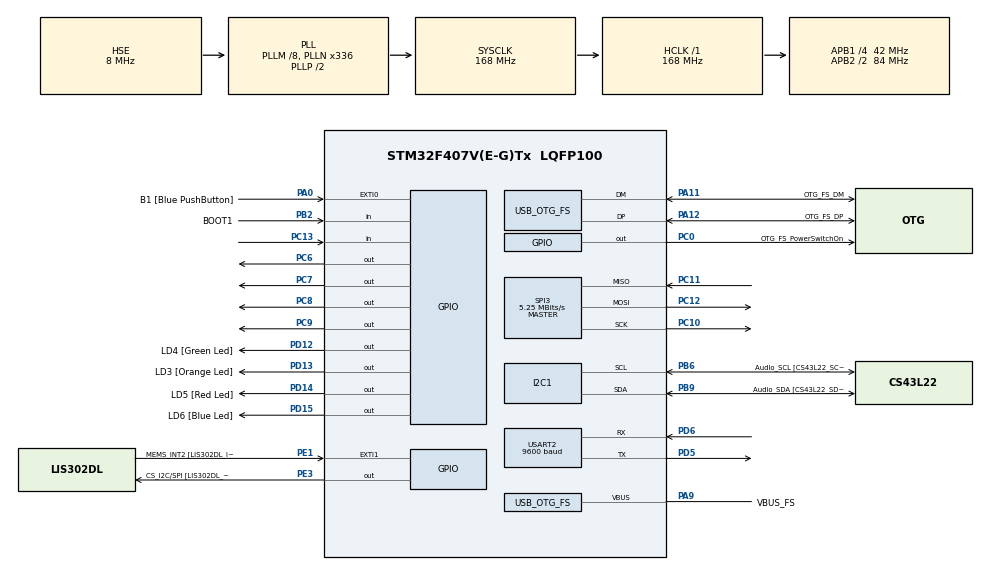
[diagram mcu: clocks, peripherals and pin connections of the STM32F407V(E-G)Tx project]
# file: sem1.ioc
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Mcu.Family=STM32F4
Mcu.Name=STM32F407V(E-G)Tx
Mcu.Package=LQFP100
NVIC.OTG_FS_IRQn=true\:0\:0\:false\:false\:true\:true\:true\:true
NVIC.PriorityGroup=NVIC_PRIORITYGROUP_0
PA0-WKUP.GPIO_Label=B1 [Blue PushButton]
PA0-WKUP.GPIO_ModeDefaultEXTI=GPIO_MODE_EVT_RISING
PA0-WKUP.GPIO_PuPd=GPIO_NOPULL
PA0-WKUP.Signal=GPXTI0
PA10.GPIO_Label=OTG_FS_ID
PA10.GPIO_Mode=GPIO_MODE_AF_PP
PA10.GPIO_PuPd=GPIO_NOPULL
PA10.GPIO_Speed=GPIO_SPEED_FREQ_LOW
PA10.Signal=USB_OTG_FS_ID
PA11.GPIO_Label=OTG_FS_DM
PA11.GPIO_Mode=GPIO_MODE_AF_PP
PA11.GPIO_PuPd=GPIO_NOPULL
PA11.GPIO_Speed=GPIO_SPEED_FREQ_LOW
PA11.Mode=Host_Only
PA11.Signal=USB_OTG_FS_DM
PA12.GPIO_Label=OTG_FS_DP
PA12.GPIO_Mode=GPIO_MODE_AF_PP
PA12.GPIO_PuPd=GPIO_NOPULL
PA12.GPIO_Speed=GPIO_SPEED_FREQ_LOW
PA12.Mode=Host_Only
PA12.Signal=USB_OTG_FS_DP
PA13.GPIO_Label=SWDIO
PA13.Mode=Serial_Wire
PA13.Signal=SYS_JTMS-SWDIO
PA14.GPIO_Label=SWCLK
PA14.Mode=Serial_Wire
PA14.Signal=SYS_JTCK-SWCLK
PA4.GPIO_Label=I2S3_WS [CS43L22_LRCK]
PA4.GPIO_Mode=GPIO_MODE_AF_PP
PA4.GPIO_PuPd=GPIO_NOPULL
PA4.GPIO_Speed=GPIO_SPEED_FREQ_LOW
PA4.Signal=I2S3_WS
PA5.GPIO_Label=SPI1_SCK [LIS302DL_SCL/SPC]
PA5.GPIO_Mode=GPIO_MODE_AF_PP
PA5.GPIO_PuPd=GPIO_NOPULL
PA5.GPIO_Speed=GPIO_SPEED_FREQ_LOW
PA5.Signal=SPI1_SCK
PA6.GPIO_Label=SPI1_MISO [LIS302DL_SDO]
PA6.GPIO_Mode=GPIO_MODE_AF_PP
PA6.GPIO_PuPd=GPIO_NOPULL
PA6.GPIO_Speed=GPIO_SPEED_FREQ_LOW
PA6.Signal=SPI1_MISO
PA7.GPIO_Label=SPI1_MOSI [LIS302DL_SDA/SDI/SDO]
PA7.GPIO_Mode=GPIO_MODE_AF_PP
PA7.GPIO_PuPd=GPIO_NOPULL
PA7.GPIO_Speed=GPIO_SPEED_FREQ_LOW
PA7.Signal=SPI1_MOSI
PA9.GPIO_Label=VBUS_FS
PA9.GPIO_Mode=GPIO_MODE_INPUT
PA9.GPIO_PuPd=GPIO_NOPULL
PA9.Mode=Activate_VBUS
PA9.Signal=USB_OTG_FS_VBUS
PB10.GPIO_Label=CLK_IN [MP45DT02_CLK]
PB10.GPIO_Mode=GPIO_MODE_AF_PP
PB10.GPIO_PuPd=GPIO_NOPULL
PB10.GPIO_Speed=GPIO_SPEED_FREQ_LOW
PB10.Signal=I2S2_CK
PB2.GPIO_Label=BOOT1
PB2.GPIO_Mode=GPIO_MODE_INPUT
PB2.GPIO_PuPd=GPIO_NOPULL
PB2.Signal=GPIO_Input
PB3.GPIO_Label=SWO
PB3.Signal=SYS_JTDO-SWO
PB6.GPIO_Label=Audio_SCL [CS43L22_SCL]
PB6.GPIO_Mode=GPIO_MODE_AF_OD
PB6.GPIO_Pu=GPIO_PULLUP
PB6.GPIO_PuPd=GPIO_NOPULL
PB6.GPIO_Speed=GPIO_SPEED_FREQ_LOW
PB6.Mode=I2C
PB6.Signal=I2C1_SCL
PB9.GPIO_Label=Audio_SDA [CS43L22_SDA]
PB9.GPIO_Mode=GPIO_MODE_AF_OD
PB9.GPIO_Pu=GPIO_PULLUP
PB9.GPIO_PuPd=GPIO_NOPULL
PB9.GPIO_Speed=GPIO_SPEED_FREQ_LOW
PB9.Mode=I2C
PB9.Signal=I2C1_SDA
PC0.GPIO_Label=OTG_FS_PowerSwitchOn
PC0.GPIO_PuPd=GPIO_NOPULL
PC0.GPIO_Speed=GPIO_SPEED_FREQ_LOW
PC0.PinState=GPIO_PIN_SET
PC0.Signal=GPIO_Output
PC10.Mode=Full_Duplex_Master
PC10.Signal=SPI3_SCK
PC11.Mode=Full_Duplex_Master
PC11.Signal=SPI3_MISO
PC12.Mode=Full_Duplex_Master
PC12.Signal=SPI3_MOSI
PC13-ANTI_TAMP.Signal=GPIO_Input
PC14-OSC32_IN.GPIO_Label=PC14-OSC32_IN
PC14-OSC32_IN.Mode=LSE-External-Oscillator
PC14-OSC32_IN.Signal=RCC_OSC32_IN
PC15-OSC32_OUT.GPIO_Label=PC15-OSC32_OUT
PC15-OSC32_OUT.Mode=LSE-External-Oscillator
PC15-OSC32_OUT.Signal=RCC_OSC32_OUT
PC3.GPIO_Label=PDM_OUT [MP45DT02_DOUT]
PC3.GPIO_Mode=GPIO_MODE_AF_PP
PC3.GPIO_PuPd=GPIO_NOPULL
PC3.GPIO_Speed=GPIO_SPEED_FREQ_LOW
PC3.Signal=I2S2_SD
PC6.Signal=GPIO_Output
PC7.Signal=GPIO_Output
PC8.Signal=GPIO_Output
PC9.Signal=GPIO_Output
PD12.GPIO_Label=LD4 [Green Led]
PD12.GPIO_PuPd=GPIO_NOPULL
PD12.GPIO_Speed=GPIO_SPEED_FREQ_LOW
PD12.Signal=GPIO_Output
PD13.GPIO_Label=LD3 [Orange Led]
PD13.GPIO_PuPd=GPIO_NOPULL
PD13.GPIO_Speed=GPIO_SPEED_FREQ_LOW
PD13.Signal=GPIO_Output
PD14.GPIO_Label=LD5 [Red Led]
PD14.GPIO_PuPd=GPIO_NOPULL
PD14.GPIO_Speed=GPIO_SPEED_FREQ_LOW
PD14.Signal=GPIO_Output
PD15.GPIO_Label=LD6 [Blue Led]
PD15.GPIO_PuPd=GPIO_NOPULL
PD15.GPIO_Speed=GPIO_SPEED_FREQ_LOW
PD15.Signal=GPIO_Output
PD5.Mode=Asynchronous
PD5.Signal=USART2_TX
PD6.Mode=Asynchronous
PD6.Signal=USART2_RX
PE1.GPIO_Label=MEMS_INT2 [LIS302DL_INT2]
PE1.GPIO_ModeDefaultEXTI=GPIO_MODE_EVT_RISING
PE1.GPIO_PuPd=GPIO_NOPULL
PE1.Signal=GPXTI1
PE3.GPIO_Label=CS_I2C/SPI [LIS302DL_CS_I2C/SPI]
PE3.GPIO_PuPd=GPIO_NOPULL
PE3.GPIO_Speed=GPIO_SPEED_FREQ_LOW
PE3.Signal=GPIO_Output
PH0-OSC_IN.GPIO_Label=PH0-OSC_IN
PH0-OSC_IN.Mode=HSE-External-Oscillator
PH0-OSC_IN.Signal=RCC_OSC_IN
PH1-OSC_OUT.GPIO_Label=PH1-OSC_OUT
PH1-OSC_OUT.Mode=HSE-External-Oscillator
PH1-OSC_OUT.Signal=RCC_OSC_OUT
ProjectManager.HeapSize=0x200
ProjectManager.StackSize=0x400
ProjectManager.TargetToolchain=STM32CubeIDE
RCC.48MHZClocksFreq_Value=48000000
RCC.AHBFreq_Value=168000000
RCC.APB1CLKDivider=RCC_HCLK_DIV4
RCC.APB1Freq_Value=42000000
RCC.APB1TimFreq_Value=84000000
RCC.APB2CLKDivider=RCC_HCLK_DIV2
RCC.APB2Freq_Value=84000000
RCC.APB2TimFreq_Value=168000000
RCC.CortexFreq_Value=168000000
RCC.HCLKFreq_Value=168000000
RCC.HSE_VALUE=8000000
RCC.HSI_VALUE=16000000
RCC.PLLM=8
RCC.PLLN=336
RCC.PLLQ=7
RCC.SYSCLKFreq_VALUE=168000000
RCC.SYSCLKSource=RCC_SYSCLKSOURCE_PLLCLK
RCC.VCOOutputFreq_Value=336000000
SPI3.BaudRatePrescaler=SPI_BAUDRATEPRESCALER_8
SPI3.CalculateBaudRate=5.25 MBits/s
SPI3.Direction=SPI_DIRECTION_2LINES
SPI3.Mode=SPI_MODE_MASTER
SPI3.VirtualType=VM_MASTER
USART2.BaudRate=9600
USART2.VirtualMode=VM_ASYNC
USB_HOST.BSP.number=1
USB_HOST.USBH_HandleTypeDef-CDC_FS=hUsbHostFS
USB_HOST.VirtualModeFS=Cdc
USB_HOST0.BSP.STBoard=false
USB_HOST0.BSP.api=Unknown
USB_HOST0.BSP.instance=PC0
USB_HOST0.BSP.ip=GPIO
USB_HOST0.BSP.mode=Output
USB_HOST0.BSP.name=Drive_VBUS_FS
USB_HOST0.BSP.solution=PC0
USB_OTG_FS.VirtualMode=Host_Only
USB_OTG_FS.phy_itface=HCD_PHY_EMBEDDED
VP_USB_HOST_VS_USB_HOST_CDC_FS.Mode=CDC_FS
board=STM32F407G-DISC1

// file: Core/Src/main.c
/* USER CODE BEGIN Header */
/**
 ******************************************************************************
 * @file           : main.c
 * @brief          : Main program body
 ******************************************************************************
 * @attention
 *
 * Copyright (c) 2023 STMicroelectronics.
 * All rights reserved.
 *
 * This software is licensed under terms that can be found in the LICENSE file
 * in the root directory of this software component.
 * If no LICENSE file comes with this software, it is provided AS-IS.
 *
 ******************************************************************************
 */
/* USER CODE END Header */
#include "main.h"
#include "usb_host.h"

/* USER CODE BEGIN Includes */
#include <stdio.h>
#include <stdbool.h>
#include <string.h>
#include "util.h"
#include "fonts.h"
#include "ili9341.h"
#include "ili9341_touch.h"
/* USER CODE END Includes */

/* USER CODE BEGIN PD */
#define MAX_STEP 8
#define FAST SPI_BAUDRATEPRESCALER_8
#define SLOW SPI_BAUDRATEPRESCALER_128
#define PUTCHAR_PROTOTYPE int __io_putchar(int ch)
/* USER CODE END PD */

I2C_HandleTypeDef hi2c1;

SPI_HandleTypeDef hspi3;

UART_HandleTypeDef huart2;

/* USER CODE BEGIN PV */
volatile uint8_t MHzInUse = 0;		//početno se frekvencija prikazuje u kHz
volatile uint32_t frequency = 100100000;//frekvencija mi je spremljena u Hz, ali će prikaz biti u kHz ili MHz
volatile uint8_t keyboardInUse = 0;
volatile uint8_t refreshScreen = 0;//mijenjanje vrijednosti frekvecije na grafičkom pokazniku
static uint32_t steps[] = { 10, 100, 1000, 10000, 100000, 1000000, 10000000,
				100000000, 1000000000 };
volatile uint8_t stepIndex = 2;
char frequencyString[12];		//frekvencija zapisana kao znakovni niz
char oldFrequencyString[13];
uint8_t frequencyBuffer[4];//spremnik u kojem se nalazi frekvencija u obliku pogodnom za prijenos do programski definiranog radija
//varijable za tipkovnicu
uint8_t znamenke[9] = { 0 };
uint8_t nextNum = 0;
/* USER CODE END PV */

void SystemClock_Config(void);
static void MX_GPIO_Init(void);
static void MX_I2C1_Init(void);
static void MX_SPI3_Init(void);
static void MX_USART2_UART_Init(void);
void MX_USB_HOST_Process(void);

/* USER CODE BEGIN PFP */
static void incrementFreq(void);
static void decrementFreq(void);
static void incrementStep(void);
static void decrementStep(void);
static void toggle_kHz_MHz(void);
static void formatOutput(void);
/* USER CODE END PFP */

/* USER CODE BEGIN 0 */

void LCD_init()
{
	ILI9341_Unselect();
	ILI9341_TouchUnselect();
	ILI9341_Init();
}

void printStepPointer(void)
{
	int numberOfCharactersToShift = 1;

	if (MHzInUse) {
		if (stepIndex >= 5)
			numberOfCharactersToShift += (stepIndex + 1);
		else
			numberOfCharactersToShift += stepIndex;
	}
	else {
		if (stepIndex >= 2)
			numberOfCharactersToShift += (stepIndex + 1);
		else
			numberOfCharactersToShift += stepIndex;
	}

	ILI9341_FillRectangle(80, 50 + 26, 16 * 11, 26, ILI9341_BLACK);
	ILI9341_FillRectangle(80 + 10 * 16 - numberOfCharactersToShift * 16, 76,
				16, 7, ILI9341_RED);
}

void initStartUpScreen(void)
{
	printButtons();
	printStepPointer();

	//tipka za toggle tipkovnice
	ILI9341_FillRectangle(16, 35, 60, 45, ILI9341_RED);
	ILI9341_FillRectangle(16 + 3, 35 + 3, 60 - 3*2, 45 - 3*2, ILI9341_YELLOW);
	ILI9341_WriteString(16 + 3 + 5, 50, "Keys", Font_11x18, ILI9341_BLACK, ILI9341_YELLOW);

	//pocetna frekvencija
	formatOutput();
	ILI9341_WriteString(80, 50, frequencyString, Font_16x26, ILI9341_YELLOW,
				ILI9341_BLACK);
	ILI9341_WriteString(65 + 16 * 13, 55, (MHzInUse == 1 ? "MHz" : "kHz"),
				Font_11x18, ILI9341_YELLOW, ILI9341_BLACK);
}

void printWithoutStutter(void)
{
	for (int i = 10; i >= 0; i--) {
		if (oldFrequencyString[i] == frequencyString[i])
			continue;
		ILI9341_FillRectangle(80 + i * 16, 50, 16, 26, ILI9341_BLACK);
		ILI9341_WriteString(80 + i * 16, 50,
					charToString(frequencyString[i]),
					Font_16x26, ILI9341_YELLOW,
					ILI9341_BLACK);
	}
}

static void Set_SPI_Speed(uint32_t speed)
{
	if (HAL_SPI_DeInit(&hspi3) != HAL_OK) {
		printf("HAL_SPI_DeInit failed.");
		return;
	}

	hspi3.Init.BaudRatePrescaler = speed;

	if (HAL_SPI_Init(&hspi3) != HAL_OK) {
		printf("HAL_SPI_Init failed.");
		return;
	}
}

static void calcKeyboardFreq(void)
{
	frequency = 0;
	for (int i = 0; i < nextNum; i++) {
		frequency = frequency + znamenke[i] * steps[nextNum - 1 - i];
	}
}

/* USER CODE END 0 */

int main(void)
{

	/* MCU Configuration--------------------------------------------------------*/

	/* Reset of all peripherals, Initializes the Flash interface and the Systick. */
	HAL_Init();

	/* Configure the system clock */
	SystemClock_Config();

	/* Initialize all configured peripherals */
	MX_GPIO_Init();
	MX_I2C1_Init();
	MX_USB_HOST_Init();
	MX_SPI3_Init();
	MX_USART2_UART_Init();
	/* USER CODE BEGIN 2 */
	LCD_init();

//	printf("Pozdrav svima!\r\n");

	ILI9341_FillScreen(ILI9341_BLACK);
	initStartUpScreen();
	calculateOutputFrequency(&frequency, &frequencyBuffer);
	sendSerialFreq(frequencyBuffer);

	uint16_t x, y;

	/* USER CODE END 2 */

	/* Infinite loop */
	/* USER CODE BEGIN WHILE */
	while (1) {
		if (ILI9341_TouchGetCoordinates(&x, &y)) {
			printf("x: %d, y: %d \r\n", x, y);
			HAL_Delay(150);

			if (y >= 80 && y <= (80 + 16*13) &&
			    x >= 50 && x <= (50 + ILI9341_HEIGHT - 16*13)) {
				toggle_kHz_MHz();
				continue;
			} else if (x >= 10 && x <= (15 + 70) &&
			    y >= 35 && y <= (32 + 45)) {

				Set_SPI_Speed(SPI_BAUDRATEPRESCALER_2);

				if (keyboardInUse) {
					printButtons();
					nextNum = 0;
				} else {
					printKeyboard();
				}

				Set_SPI_Speed(SPI_BAUDRATEPRESCALER_8);
				keyboardInUse = 1 - keyboardInUse;
				continue;
			} else if (keyboardInUse == 0) {
				//tipkovnica se ne koristi
				char c = resolveButtonPress(x, y);
				switch (c) {
					case 'S':
						incrementStep();
						break;
					case 's':
						decrementStep();
						break;
					case '+':
						incrementFreq();
						break;
					case '-':
						decrementFreq();
						break;
					default:
						break;
				}
			} else {
				//TODO: tipkovnica se koristi ovde !!!!!
				uint8_t c = resolveKeyboardPress(x, y);
				switch (c) {
				case 0:
				case 1:
				case 2:
				case 3:
				case 4:
				case 5:
				case 6:
				case 7:
				case 8:
				case 9:
					if (nextNum > 8)
						break;
					znamenke[nextNum++] = c;
					calcKeyboardFreq();
					if (frequency > 4000000000) {
						znamenke[nextNum--] = 0;
						calcKeyboardFreq();
						break;
					}

					refreshScreen = 1;
					break;
				case AC:
					for (int i = 0; i < 10; i++)
						znamenke[i] = 0;
					nextNum = 0;
					frequency = 0;
					refreshScreen = 1;
					break;
				case X:
					if (nextNum > 0) {
						znamenke[nextNum--] = 0;
						calcKeyboardFreq();
						refreshScreen = 1;
					}

					break;

				default:
					break;
				}
			}

		}

		if (refreshScreen) {
			refreshScreen = 0;
			calculateOutputFrequency(&frequency, &frequencyBuffer);
			sendSerialFreq(frequencyBuffer);
			formatOutput();
			printWithoutStutter();
		}

		/* USER CODE END WHILE */
		MX_USB_HOST_Process();

	}
}

void SystemClock_Config(void)
{
	RCC_OscInitTypeDef RCC_OscInitStruct = { 0 };
	RCC_ClkInitTypeDef RCC_ClkInitStruct = { 0 };

	/** Configure the main internal regulator output voltage
	 */
	__HAL_RCC_PWR_CLK_ENABLE();
	__HAL_PWR_VOLTAGESCALING_CONFIG(PWR_REGULATOR_VOLTAGE_SCALE1);

	/** Initializes the RCC Oscillators according to the specified parameters
	 * in the RCC_OscInitTypeDef structure.
	 */
	RCC_OscInitStruct.OscillatorType = RCC_OSCILLATORTYPE_HSE;
	RCC_OscInitStruct.HSEState = RCC_HSE_ON;
	RCC_OscInitStruct.PLL.PLLState = RCC_PLL_ON;
	RCC_OscInitStruct.PLL.PLLSource = RCC_PLLSOURCE_HSE;
	RCC_OscInitStruct.PLL.PLLM = 8;
	RCC_OscInitStruct.PLL.PLLN = 336;
	RCC_OscInitStruct.PLL.PLLP = RCC_PLLP_DIV2;
	RCC_OscInitStruct.PLL.PLLQ = 7;
	if (HAL_RCC_OscConfig(&RCC_OscInitStruct) != HAL_OK) {
		Error_Handler();
	}

	/** Initializes the CPU, AHB and APB buses clocks
	 */
	RCC_ClkInitStruct.ClockType = RCC_CLOCKTYPE_HCLK | RCC_CLOCKTYPE_SYSCLK
			| RCC_CLOCKTYPE_PCLK1 | RCC_CLOCKTYPE_PCLK2;
	RCC_ClkInitStruct.SYSCLKSource = RCC_SYSCLKSOURCE_PLLCLK;
	RCC_ClkInitStruct.AHBCLKDivider = RCC_SYSCLK_DIV1;
	RCC_ClkInitStruct.APB1CLKDivider = RCC_HCLK_DIV4;
	RCC_ClkInitStruct.APB2CLKDivider = RCC_HCLK_DIV2;

	if (HAL_RCC_ClockConfig(&RCC_ClkInitStruct, FLASH_LATENCY_5)
			!= HAL_OK) {
		Error_Handler();
	}
}

static void MX_I2C1_Init(void)
{

	hi2c1.Instance = I2C1;
	hi2c1.Init.ClockSpeed = 100000;
	hi2c1.Init.DutyCycle = I2C_DUTYCYCLE_2;
	hi2c1.Init.OwnAddress1 = 0;
	hi2c1.Init.AddressingMode = I2C_ADDRESSINGMODE_7BIT;
	hi2c1.Init.DualAddressMode = I2C_DUALADDRESS_DISABLE;
	hi2c1.Init.OwnAddress2 = 0;
	hi2c1.Init.GeneralCallMode = I2C_GENERALCALL_DISABLE;
	hi2c1.Init.NoStretchMode = I2C_NOSTRETCH_DISABLE;
	if (HAL_I2C_Init(&hi2c1) != HAL_OK) {
		Error_Handler();
	}

}

static void MX_SPI3_Init(void)
{

	/* SPI3 parameter configuration*/
	hspi3.Instance = SPI3;
	hspi3.Init.Mode = SPI_MODE_MASTER;
	hspi3.Init.Direction = SPI_DIRECTION_2LINES;
	hspi3.Init.DataSize = SPI_DATASIZE_8BIT;
	hspi3.Init.CLKPolarity = SPI_POLARITY_LOW;
	hspi3.Init.CLKPhase = SPI_PHASE_1EDGE;
	hspi3.Init.NSS = SPI_NSS_SOFT;
	hspi3.Init.BaudRatePrescaler = SPI_BAUDRATEPRESCALER_8;
	hspi3.Init.FirstBit = SPI_FIRSTBIT_MSB;
	hspi3.Init.TIMode = SPI_TIMODE_DISABLE;
	hspi3.Init.CRCCalculation = SPI_CRCCALCULATION_DISABLE;
	hspi3.Init.CRCPolynomial = 10;
	if (HAL_SPI_Init(&hspi3) != HAL_OK) {
		Error_Handler();
	}

}

static void MX_USART2_UART_Init(void)
{

	huart2.Instance = USART2;
	huart2.Init.BaudRate = 9600;
	huart2.Init.WordLength = UART_WORDLENGTH_8B;
	huart2.Init.StopBits = UART_STOPBITS_1;
	huart2.Init.Parity = UART_PARITY_NONE;
	huart2.Init.Mode = UART_MODE_TX_RX;
	huart2.Init.HwFlowCtl = UART_HWCONTROL_NONE;
	huart2.Init.OverSampling = UART_OVERSAMPLING_16;
	if (HAL_UART_Init(&huart2) != HAL_OK) {
		Error_Handler();
	}

}

static void MX_GPIO_Init(void)
{
	GPIO_InitTypeDef GPIO_InitStruct = { 0 };

	/* GPIO Ports Clock Enable */
	__HAL_RCC_GPIOE_CLK_ENABLE();
	__HAL_RCC_GPIOC_CLK_ENABLE();
	__HAL_RCC_GPIOH_CLK_ENABLE();
	__HAL_RCC_GPIOA_CLK_ENABLE();
	__HAL_RCC_GPIOB_CLK_ENABLE();
	__HAL_RCC_GPIOD_CLK_ENABLE();

	/*Configure GPIO pin Output Level */
	HAL_GPIO_WritePin(CS_I2C_SPI_GPIO_Port, CS_I2C_SPI_Pin, GPIO_PIN_RESET);

	/*Configure GPIO pin Output Level */
	HAL_GPIO_WritePin(OTG_FS_PowerSwitchOn_GPIO_Port,
	OTG_FS_PowerSwitchOn_Pin,
				GPIO_PIN_SET);

	/*Configure GPIO pin Output Level */
	HAL_GPIO_WritePin(GPIOD, LD4_Pin | LD3_Pin | LD5_Pin | LD6_Pin,
				GPIO_PIN_RESET);

	/*Configure GPIO pin Output Level */
	HAL_GPIO_WritePin(
			GPIOC,
			GPIO_PIN_6 | GPIO_PIN_7 | GPIO_PIN_8 | GPIO_PIN_9,
			GPIO_PIN_RESET);

	/*Configure GPIO pin : CS_I2C_SPI_Pin */
	GPIO_InitStruct.Pin = CS_I2C_SPI_Pin;
	GPIO_InitStruct.Mode = GPIO_MODE_OUTPUT_PP;
	GPIO_InitStruct.Pull = GPIO_NOPULL;
	GPIO_InitStruct.Speed = GPIO_SPEED_FREQ_LOW;
	HAL_GPIO_Init(CS_I2C_SPI_GPIO_Port, &GPIO_InitStruct);

	/*Configure GPIO pin : PC13 */
	GPIO_InitStruct.Pin = GPIO_PIN_13;
	GPIO_InitStruct.Mode = GPIO_MODE_INPUT;
	GPIO_InitStruct.Pull = GPIO_NOPULL;
	HAL_GPIO_Init(GPIOC, &GPIO_InitStruct);

	/*Configure GPIO pins : OTG_FS_PowerSwitchOn_Pin PC6 PC7 PC8
	 PC9 */
	GPIO_InitStruct.Pin = OTG_FS_PowerSwitchOn_Pin | GPIO_PIN_6 | GPIO_PIN_7
			| GPIO_PIN_8 | GPIO_PIN_9;
	GPIO_InitStruct.Mode = GPIO_MODE_OUTPUT_PP;
	GPIO_InitStruct.Pull = GPIO_NOPULL;
	GPIO_InitStruct.Speed = GPIO_SPEED_FREQ_LOW;
	HAL_GPIO_Init(GPIOC, &GPIO_InitStruct);

	/*Configure GPIO pin : PDM_OUT_Pin */
	GPIO_InitStruct.Pin = PDM_OUT_Pin;
	GPIO_InitStruct.Mode = GPIO_MODE_AF_PP;
	GPIO_InitStruct.Pull = GPIO_NOPULL;
	GPIO_InitStruct.Speed = GPIO_SPEED_FREQ_LOW;
	GPIO_InitStruct.Alternate = GPIO_AF5_SPI2;
	HAL_GPIO_Init(PDM_OUT_GPIO_Port, &GPIO_InitStruct);

	/*Configure GPIO pin : B1_Pin */
	GPIO_InitStruct.Pin = B1_Pin;
	GPIO_InitStruct.Mode = GPIO_MODE_EVT_RISING;
	GPIO_InitStruct.Pull = GPIO_NOPULL;
	HAL_GPIO_Init(B1_GPIO_Port, &GPIO_InitStruct);

	/*Configure GPIO pin : I2S3_WS_Pin */
	GPIO_InitStruct.Pin = I2S3_WS_Pin;
	GPIO_InitStruct.Mode = GPIO_MODE_AF_PP;
	GPIO_InitStruct.Pull = GPIO_NOPULL;
	GPIO_InitStruct.Speed = GPIO_SPEED_FREQ_LOW;
	GPIO_InitStruct.Alternate = GPIO_AF6_SPI3;
	HAL_GPIO_Init(I2S3_WS_GPIO_Port, &GPIO_InitStruct);

	/*Configure GPIO pins : SPI1_SCK_Pin SPI1_MISO_Pin SPI1_MOSI_Pin */
	GPIO_InitStruct.Pin = SPI1_SCK_Pin | SPI1_MISO_Pin | SPI1_MOSI_Pin;
	GPIO_InitStruct.Mode = GPIO_MODE_AF_PP;
	GPIO_InitStruct.Pull = GPIO_NOPULL;
	GPIO_InitStruct.Speed = GPIO_SPEED_FREQ_LOW;
	GPIO_InitStruct.Alternate = GPIO_AF5_SPI1;
	HAL_GPIO_Init(GPIOA, &GPIO_InitStruct);

	/*Configure GPIO pin : BOOT1_Pin */
	GPIO_InitStruct.Pin = BOOT1_Pin;
	GPIO_InitStruct.Mode = GPIO_MODE_INPUT;
	GPIO_InitStruct.Pull = GPIO_NOPULL;
	HAL_GPIO_Init(BOOT1_GPIO_Port, &GPIO_InitStruct);

	/*Configure GPIO pin : CLK_IN_Pin */
	GPIO_InitStruct.Pin = CLK_IN_Pin;
	GPIO_InitStruct.Mode = GPIO_MODE_AF_PP;
	GPIO_InitStruct.Pull = GPIO_NOPULL;
	GPIO_InitStruct.Speed = GPIO_SPEED_FREQ_LOW;
	GPIO_InitStruct.Alternate = GPIO_AF5_SPI2;
	HAL_GPIO_Init(CLK_IN_GPIO_Port, &GPIO_InitStruct);

	/*Configure GPIO pins : LD4_Pin LD3_Pin LD5_Pin LD6_Pin */
	GPIO_InitStruct.Pin = LD4_Pin | LD3_Pin | LD5_Pin | LD6_Pin;
	GPIO_InitStruct.Mode = GPIO_MODE_OUTPUT_PP;
	GPIO_InitStruct.Pull = GPIO_NOPULL;
	GPIO_InitStruct.Speed = GPIO_SPEED_FREQ_LOW;
	HAL_GPIO_Init(GPIOD, &GPIO_InitStruct);

	/*Configure GPIO pin : MEMS_INT2_Pin */
	GPIO_InitStruct.Pin = MEMS_INT2_Pin;
	GPIO_InitStruct.Mode = GPIO_MODE_EVT_RISING;
	GPIO_InitStruct.Pull = GPIO_NOPULL;
	HAL_GPIO_Init(MEMS_INT2_GPIO_Port, &GPIO_InitStruct);

}

/* USER CODE BEGIN 4 */
static void incrementFreq(void)
{
	if (frequency + steps[stepIndex] < frequency)
		return;
	if (frequency + steps[stepIndex] <= 4000000000) {
		frequency = frequency + steps[stepIndex];
		refreshScreen = 1;
	} else
		return;
}

static void decrementFreq(void)
{
	if (frequency - steps[stepIndex] > frequency)
		return;
	if (frequency - steps[stepIndex] >= 10) {
		frequency = frequency - steps[stepIndex];
		refreshScreen = 1;
	} else
		return;
}
/**
 * Funkcija koja povećava vrijednost koraka za koji se frekvencija smanjuje/povećava
 */
static void incrementStep(void)
{
	if (stepIndex == MAX_STEP)
		return;
	stepIndex++;

	printStepPointer();
}

/**
 * Funkcija koja smanjuje vrijednost koraka za koji se frekvencija smanjuje/povećava
 */
static void decrementStep(void)
{
	if (stepIndex == 0)
		return;

	stepIndex--;
	printStepPointer();
}

static void toggle_kHz_MHz(void)
{
	MHzInUse = 1 - MHzInUse;

	printStepPointer();
	ILI9341_FillRectangle(65 + 16 * 13, 55, 11, 18, ILI9341_BLACK);
	ILI9341_WriteString(65 + 16 * 13, 55, (MHzInUse == 1 ? "M" : "k"),
				Font_11x18, ILI9341_YELLOW, ILI9341_BLACK);

	refreshScreen = 1;
}

PUTCHAR_PROTOTYPE
{
	HAL_UART_Transmit(&huart2, (uint8_t*) &ch, 1, 0xFFFF);
	return ch;
}

static void decimalPointShifter(uint8_t numOfDecimalSpaces)
{
	char tmp[12];
	sprintf(tmp, "%lu", frequency);
	int length = strlen(tmp);

	frequencyString[11] = '\0';
	int k = length - 1;

	for (int i = 10; i >= 0; i--) {
		if (i == 10 - numOfDecimalSpaces)
			frequencyString[i] = '.';
		else if (k < 0)
			frequencyString[i] = '0';
		else
			frequencyString[i] = tmp[k--];
	}

	int decimalPointIndex = 10 - numOfDecimalSpaces;

	//uklanjanje dvostrukih nula ispred decimalne točke u ispisu
	for (int i = 0; i <= decimalPointIndex; i++) {
		if (frequencyString[i] == '0' && frequencyString[i + 1] == '0')
			frequencyString[i] = ' ';
		else if (frequencyString[i] == '0'
				&& frequencyString[i + 1] != '.') {
			frequencyString[i] = ' ';
			break;
		}
		else
			break;
	}
}

static void formatOutput(void)
{
	for (int i = 10; i >= 0; i--)
		oldFrequencyString[i] = frequencyString[i];

	if (MHzInUse)
		decimalPointShifter(6);		//6 decimalnih mjesta
	else
		decimalPointShifter(3);		//3 decimalna mjesta
}

/* USER CODE END 4 */

void Error_Handler(void)
{
	__disable_irq();
	while (1) {
	}
}

#ifdef  USE_FULL_ASSERT
/**
  * @brief  Reports the name of the source file and the source line number
  *         where the assert_param error has occurred.
  * @param  file: pointer to the source file name
  * @param  line: assert_param error line source number
  * @retval None
  */
void assert_failed(uint8_t *file, uint32_t line)
{
  /* USER CODE BEGIN 6 */
	/* User can add his own implementation to report the file name and line number,
      printf("Wrong parameters value: file %s on line %d\r\n", file, line) */
  /* USER CODE END 6 */
}
#endif /* USE_FULL_ASSERT */
